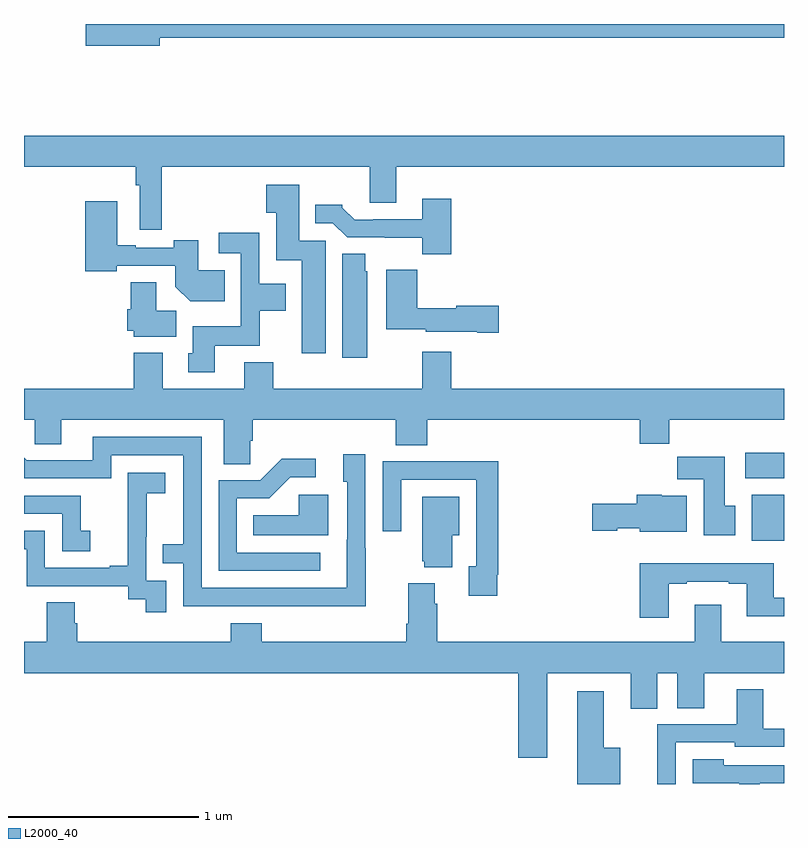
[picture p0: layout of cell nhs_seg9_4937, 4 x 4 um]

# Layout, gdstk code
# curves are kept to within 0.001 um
import gdstk
lib = gdstk.Library(unit=1e-6, precision=1e-09)
def R(c, l, rs):  # rectangles x0, y0, x1, y1
    for r in rs: c.add(gdstk.rectangle(r[:2], r[2:], *l))
def P(c, l, *ps):  # polygons
    for p in ps: c.add(gdstk.Polygon(p, *l))
L2000_40 = (2000, 40)

nhs_seg9_4937 = lib.new_cell('nhs_seg9_4937')
R(nhs_seg9_4937, L2000_40, [(400.829,1199.78,401,1200.022), (400.797,1200.11,401,1200.244)])
P(nhs_seg9_4937, L2000_40, [(397.714,1202.428),(401,1202.428),(401,1202.5),(397.326,1202.5),(397.326,1202.386),(397.714,1202.386)],
  [(397,1201.748),(397.588,1201.748),(397.588,1201.652),(397.608,1201.652),(397.608,1201.416),(397.724,1201.416),(397.724,1201.748),(398.819,1201.748),(398.819,1201.558),(398.959,1201.558),(398.959,1201.748),(401,1201.748),(401,1201.912),(397,1201.912)],
  [(398.587,1201.359),(398.449,1201.359),(398.449,1201.654),(398.276,1201.654),(398.276,1201.507),(398.327,1201.507),(398.327,1201.256),(398.462,1201.256),(398.462,1200.768),(398.587,1200.768)],
  [(399.248,1201.579),(399.095,1201.579),(399.095,1201.473),(398.839,1201.473),(398.839,1201.47),(398.74,1201.47),(398.676,1201.534),(398.676,1201.549),(398.534,1201.549),(398.534,1201.452),(398.625,1201.452),(398.7,1201.377),(399.095,1201.376),(399.095,1201.289),(399.248,1201.289)],
  [(398.057,1201.204),(397.918,1201.204),(397.918,1201.362),(397.789,1201.362),(397.789,1201.323),(397.588,1201.323),(397.588,1201.336),(397.492,1201.336),(397.492,1201.567),(397.322,1201.567),(397.322,1201.199),(397.488,1201.199),(397.488,1201.227),(397.796,1201.227),(397.796,1201.118),(397.874,1201.04),(398.057,1201.04)],
  [(398.005,1200.806),(398.241,1200.806),(398.241,1200.992),(398.377,1200.992),(398.377,1201.132),(398.238,1201.132),(398.238,1201.402),(398.025,1201.402),(398.025,1201.293),(398.142,1201.293),(398.142,1200.91),(397.889,1200.91),(397.889,1200.768),(397.865,1200.768),(397.865,1200.666),(398.005,1200.666)],
  [(398.806,1201.2),(398.797,1201.2),(398.797,1201.292),(398.675,1201.292),(398.675,1200.744),(398.806,1200.744)],
  [(399.499,1201.016),(399.276,1201.016),(399.276,1201.003),(399.07,1201.003),(399.07,1201.207),(398.906,1201.207),(398.906,1200.893),(399.114,1200.893),(399.114,1200.881),(399.386,1200.881),(399.386,1200.874),(399.499,1200.874)],
  [(397.801,1200.992),(397.696,1200.992),(397.696,1201.141),(397.562,1201.141),(397.562,1200.999),(397.544,1200.999),(397.544,1200.885),(397.578,1200.885),(397.578,1200.854),(397.801,1200.854)],
  [(397,1200.416),(397.056,1200.416),(397.056,1200.289),(397.195,1200.289),(397.195,1200.416),(398.051,1200.416),(398.051,1200.184),(398.19,1200.184),(398.19,1200.307),(398.204,1200.307),(398.204,1200.416),(398.957,1200.416),(398.957,1200.283),(399.122,1200.283),(399.122,1200.416),(400.241,1200.416),(400.241,1200.292),(400.397,1200.292),(400.397,1200.416),(401,1200.416),(401,1200.58),(399.248,1200.58),(399.248,1200.775),(399.095,1200.775),(399.095,1200.58),(398.312,1200.58),(398.312,1200.721),(398.159,1200.721),(398.159,1200.58),(397.729,1200.58),(397.729,1200.769),(397.577,1200.769),(397.577,1200.58),(397,1200.58)],
  [(398.799,1199.741),(398.796,1199.741),(398.796,1200.235),(398.681,1200.235),(398.681,1200.09),(398.7,1200.09),(398.699,1199.532),(397.935,1199.532),(397.935,1200.327),(397.361,1200.327),(397.361,1200.204),(397.014,1200.204),(397,1200.218),(397,1200.108),(397.458,1200.108),(397.458,1200.231),(397.839,1200.231),(397.839,1199.762),(397.729,1199.762),(397.729,1199.661),(397.839,1199.661),(397.839,1199.436),(398.799,1199.435)],
  [(400.744,1199.964),(400.687,1199.964),(400.687,1200.223),(400.438,1200.223),(400.438,1200.104),(400.577,1200.104),(400.577,1199.808),(400.744,1199.808)],
  [(398.56,1199.718),(398.121,1199.718),(398.121,1200.003),(398.29,1200.003),(398.401,1200.114),(398.536,1200.114),(398.536,1200.212),(398.357,1200.212),(398.244,1200.099),(398.025,1200.099),(398.025,1199.622),(398.56,1199.622)],
  [(399.49,1199.602),(399.497,1199.602),(399.497,1200.2),(399.205,1200.2),(399.205,1200.198),(398.889,1200.198),(398.889,1199.829),(398.985,1199.829),(398.985,1200.102),(399.381,1200.102),(399.381,1199.646),(399.341,1199.646),(399.341,1199.49),(399.49,1199.49)],
  [(397.749,1199.571),(397.644,1199.571),(397.644,1199.801),(397.646,1199.801),(397.646,1200.029),(397.744,1200.029),(397.744,1200.139),(397.546,1200.139),(397.546,1199.933),(397.547,1199.933),(397.547,1199.65),(397.451,1199.65),(397.451,1199.637),(397.11,1199.637),(397.11,1199.832),(397,1199.832),(397,1199.736),(397.014,1199.736),(397.014,1199.541),(397.548,1199.541),(397.548,1199.473),(397.641,1199.473),(397.641,1199.403),(397.749,1199.403)],
  [(400.489,1200.016),(400.356,1200.016),(400.356,1200.022),(400.226,1200.022),(400.226,1199.976),(399.99,1199.976),(399.99,1199.834),(400.122,1199.834),(400.122,1199.846),(400.242,1199.846),(400.242,1199.828),(400.489,1199.828)],
  [(398.602,1200.022),(398.445,1200.022),(398.445,1199.914),(398.206,1199.914),(398.206,1199.81),(398.602,1199.81)],
  [(397.348,1199.833),(397.299,1199.833),(397.299,1200.018),(397,1200.018),(397,1199.922),(397.2,1199.922),(397.2,1199.724),(397.348,1199.724)],
  [(399.253,1199.81),(399.292,1199.81),(399.292,1200.013),(399.095,1200.013),(399.095,1199.673),(399.107,1199.673),(399.107,1199.642),(399.253,1199.642)],
  [(400.393,1199.553),(400.489,1199.553),(400.489,1199.565),(400.709,1199.565),(400.709,1199.553),(400.805,1199.553),(400.805,1199.384),(401,1199.384),(401,1199.481),(400.945,1199.481),(400.945,1199.662),(400.241,1199.662),(400.241,1199.376),(400.393,1199.376)],
  [(399.754,1199.084),(400.193,1199.084),(400.193,1198.896),(400.332,1198.896),(400.332,1199.084),(400.439,1199.084),(400.439,1198.9),(400.579,1198.9),(400.579,1199.084),(401,1199.084),(401,1199.248),(400.669,1199.248),(400.669,1199.443),(400.529,1199.443),(400.529,1199.248),(399.176,1199.248),(399.176,1199.45),(399.163,1199.45),(399.163,1199.557),(399.023,1199.557),(399.023,1199.344),(399.011,1199.344),(399.011,1199.248),(398.252,1199.248),(398.252,1199.347),(398.087,1199.347),(398.087,1199.248),(397.28,1199.248),(397.28,1199.346),(397.267,1199.346),(397.267,1199.456),(397.12,1199.456),(397.12,1199.248),(397,1199.248),(397,1199.084),(399.602,1199.084),(399.602,1198.638),(399.754,1198.638)],
  [(400.431,1198.719),(400.74,1198.719),(400.74,1198.695),(401,1198.695),(401,1198.791),(400.891,1198.791),(400.891,1198.999),(400.751,1198.999),(400.751,1198.815),(400.334,1198.815),(400.334,1198.5),(400.431,1198.5)],
  [(400.138,1198.69),(400.051,1198.69),(400.051,1198.987),(399.911,1198.987),(399.911,1198.5),(400.138,1198.5)],
  [(400.873,1198.503),(401,1198.503),(401,1198.599),(400.682,1198.599),(400.682,1198.63),(400.521,1198.63),(400.521,1198.503),(400.764,1198.503),(400.764,1198.5),(400.873,1198.5)])

lib.write_gds('nhs_seg9_4937.gds')
